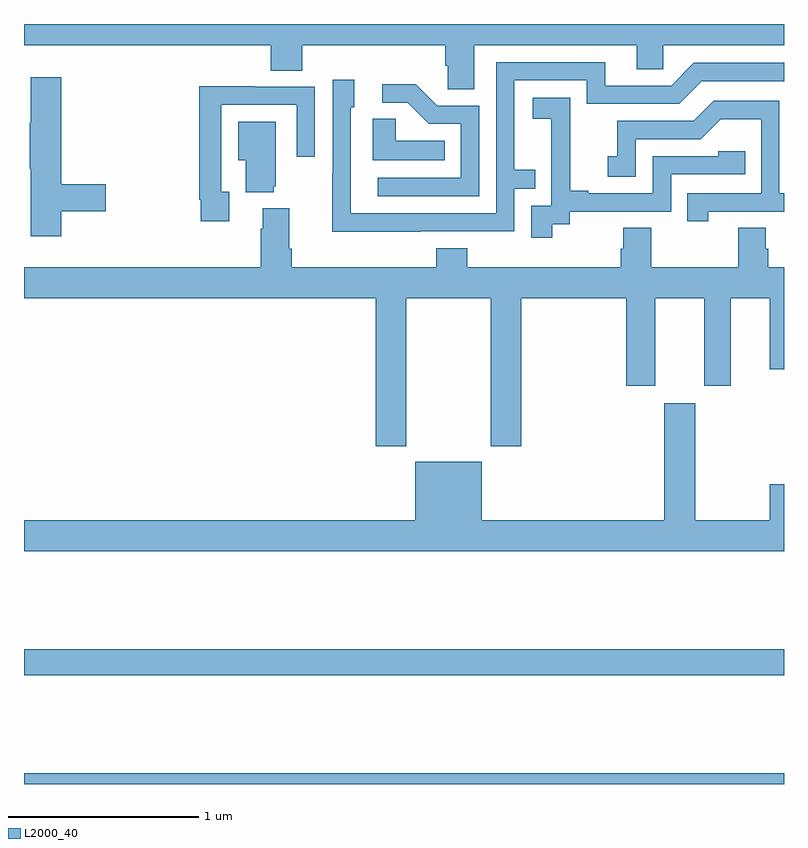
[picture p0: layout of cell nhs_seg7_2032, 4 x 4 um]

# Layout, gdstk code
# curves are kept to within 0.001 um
import gdstk
lib = gdstk.Library(unit=1e-6, precision=1e-09)
def R(c, l, rs):  # rectangles x0, y0, x1, y1
    for r in rs: c.add(gdstk.rectangle(r[:2], r[2:], *l))
def P(c, l, *ps):  # polygons
    for p in ps: c.add(gdstk.Polygon(p, *l))
L2000_40 = (2000, 40)

nhs_seg7_2032 = lib.new_cell('nhs_seg7_2032')
R(nhs_seg7_2032, L2000_40, [(245,1058,249,1058.056), (245,1058.572,249,1058.708)])
P(nhs_seg7_2032, L2000_40, [(247.369,1061.888),(248.225,1061.888),(248.225,1061.761),(248.364,1061.761),(248.364,1061.888),(249,1061.888),(249,1062),(245,1062),(245,1061.888),(246.299,1061.888),(246.299,1061.755),(246.464,1061.755),(246.464,1061.888),(247.217,1061.888),(247.217,1061.779),(247.23,1061.779),(247.23,1061.656),(247.369,1061.656)],
  [(247.085,1060.908),(247.581,1060.908),(247.581,1061.133),(247.691,1061.133),(247.691,1061.234),(247.581,1061.234),(247.581,1061.703),(247.962,1061.703),(247.962,1061.58),(248.448,1061.58),(248.568,1061.7),(249,1061.7),(249,1061.796),(248.526,1061.796),(248.406,1061.676),(248.059,1061.676),(248.059,1061.799),(247.485,1061.799),(247.485,1061.004),(246.72,1061.004),(246.72,1061.562),(246.739,1061.562),(246.739,1061.707),(246.624,1061.707),(246.624,1061.213),(246.622,1061.213),(246.622,1060.907)],
  [(245.195,1061.014),(245.431,1061.014),(245.431,1061.156),(245.195,1061.156),(245.195,1061.719),(245.036,1061.719),(245.036,1061.48),(245.029,1061.48),(245.029,1061.239),(245.036,1061.239),(245.036,1060.884),(245.195,1060.884)],
  [(247.395,1061.571),(247.176,1061.571),(247.063,1061.684),(246.885,1061.684),(246.885,1061.586),(247.019,1061.586),(247.13,1061.475),(247.299,1061.475),(247.299,1061.19),(246.861,1061.19),(246.861,1061.094),(247.395,1061.094)],
  [(246.079,1061.118),(246.039,1061.118),(246.039,1061.574),(246.435,1061.574),(246.435,1061.301),(246.531,1061.301),(246.531,1061.67),(246.215,1061.67),(246.215,1061.672),(245.923,1061.672),(245.923,1061.074),(245.931,1061.074),(245.931,1060.962),(246.079,1060.962)],
  [(247.78,1060.945),(247.872,1060.945),(247.872,1061.013),(248.406,1061.013),(248.406,1061.208),(248.795,1061.208),(248.795,1061.331),(248.655,1061.331),(248.655,1061.304),(248.31,1061.304),(248.31,1061.109),(247.969,1061.109),(247.969,1061.122),(247.874,1061.122),(247.874,1061.405),(247.875,1061.405),(247.875,1061.611),(247.677,1061.611),(247.677,1061.501),(247.775,1061.501),(247.775,1061.273),(247.776,1061.273),(247.776,1061.043),(247.671,1061.043),(247.671,1060.875),(247.78,1060.875)],
  [(248.602,1061.013),(249,1061.013),(249,1061.109),(248.976,1061.109),(248.976,1061.595),(248.63,1061.595),(248.525,1061.49),(248.122,1061.49),(248.122,1061.305),(248.073,1061.305),(248.073,1061.196),(248.22,1061.196),(248.22,1061.394),(248.562,1061.394),(248.666,1061.498),(248.88,1061.498),(248.88,1061.109),(248.491,1061.109),(248.491,1060.962),(248.602,1060.962)],
  [(247.214,1061.386),(246.957,1061.386),(246.957,1061.501),(246.836,1061.501),(246.836,1061.282),(247.214,1061.282)],
  [(246.314,1061.145),(246.325,1061.145),(246.325,1061.485),(246.128,1061.485),(246.128,1061.282),(246.167,1061.282),(246.167,1061.114),(246.314,1061.114)],
  [(248.153,1060.818),(248.141,1060.818),(248.141,1060.72),(247.334,1060.72),(247.334,1060.819),(247.169,1060.819),(247.169,1060.72),(246.41,1060.72),(246.41,1060.816),(246.397,1060.816),(246.397,1061.029),(246.257,1061.029),(246.257,1060.922),(246.245,1060.922),(246.245,1060.72),(245,1060.72),(245,1060.556),(246.851,1060.556),(246.851,1059.777),(247.011,1059.777),(247.011,1060.556),(247.456,1060.556),(247.456,1059.777),(247.616,1059.777),(247.616,1060.556),(248.171,1060.556),(248.171,1060.095),(248.323,1060.095),(248.323,1060.556),(248.579,1060.556),(248.579,1060.095),(248.719,1060.095),(248.719,1060.556),(248.924,1060.556),(248.924,1060.182),(249,1060.182),(249,1060.72),(248.918,1060.72),(248.918,1060.818),(248.905,1060.818),(248.905,1060.928),(248.758,1060.928),(248.758,1060.72),(248.301,1060.72),(248.301,1060.928),(248.153,1060.928)],
  [(249,1059.577),(248.924,1059.577),(248.924,1059.388),(248.533,1059.388),(248.533,1060.003),(248.369,1060.003),(248.369,1059.388),(247.408,1059.388),(247.408,1059.697),(247.058,1059.697),(247.058,1059.388),(245,1059.388),(245,1059.224),(249,1059.224)])

lib.write_gds('nhs_seg7_2032.gds')
